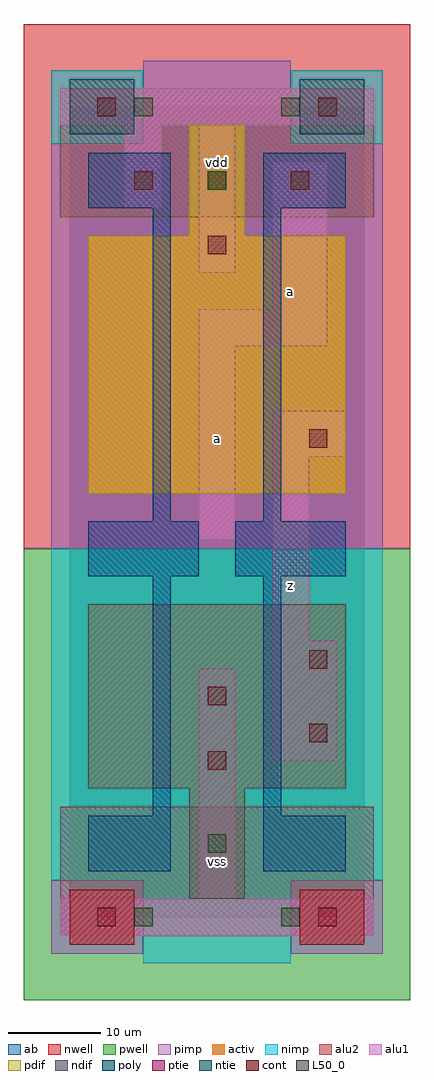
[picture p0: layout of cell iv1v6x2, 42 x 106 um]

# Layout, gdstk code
import gdstk
lib = gdstk.Library(unit=1e-6, precision=1e-09)
def R(c, l, rs):  # rectangles x0, y0, x1, y1
    for r in rs: c.add(gdstk.rectangle(r[:2], r[2:], *l))
ndif = (3, 0)
pdif = (4, 0)
ntie = (5, 0)
ptie = (6, 0)
cont = (25, 0)
pwell = (41, 0)
nwell = (42, 0)
activ = (43, 0)
pimp = (44, 0)
nimp = (45, 0)
poly = (46, 0)
alu1 = (49, 0)
L50_0 = (50, 0)
alu2 = (51, 0)
ab = (63, 0)

iv1v6x2 = lib.new_cell('iv1v6x2')
R(iv1v6x2, ndif, [(13,2,19,14), (2,14,30,34)])
R(iv1v6x2, pdif, [(2,46,30,74), (13,74,19,86)])
R(iv1v6x2, ntie, [(0,85,7,91), (25,85,32,91)])
R(iv1v6x2, ptie, [(0,-3,7,3), (25,-3,32,3)])
R(iv1v6x2, cont, [(3,-1,5,1), (27,-1,29,1), (15,16,17,18), (26,19,28,21), (15,23,17,25), (26,27,28,29), (26,51,28,53), (15,72,17,74), (7,79,9,81), (15,79,17,81), (24,79,26,81), (3,87,5,89), (27,87,29,89)])
R(iv1v6x2, pwell, [(-5,-9,37,40)])
R(iv1v6x2, nwell, [(-5,40,37,97)])
R(iv1v6x2, activ, [(0,-3,7,3), (25,-3,32,3), (13,2,19,14), (2,14,30,34), (2,46,30,74), (13,74,19,86), (0,85,7,91), (25,85,32,91)])
R(iv1v6x2, pimp, [(-2,-4,8,4), (24,-4,34,4), (-2,40,34,84), (8,84,24,93)])
R(iv1v6x2, nimp, [(8,-5,24,4), (-2,4,34,40), (-2,84,8,92), (24,84,34,92)])
R(iv1v6x2, poly, [(2,5,11,11), (21,5,30,11), (9,11,11,37), (21,11,23,37), (2,37,14,43), (18,37,30,43), (9,43,11,77), (21,43,23,77), (2,77,11,83), (21,77,30,83)])
R(iv1v6x2, alu1, [(-1,-2,33,2), (14,2,18,27), (22,17,29,30), (22,30,26,50), (14,41,18,62), (22,50,30,55), (14,62,28,66), (22,66,28,82), (14,70,18,86), (6,77,10,86), (-1,86,33,90)])
R(iv1v6x2, L50_0, [(7,-1,9,1), (23,-1,25,1), (15,7,17,9), (15,79,17,81), (7,87,9,89), (23,87,25,89)])
R(iv1v6x2, alu2, [(-1,-2,33,12), (-1,76,33,90)])
R(iv1v6x2, ab, [(0,0,32,88)])
iv1v6x2.add(gdstk.Label('a', (16,52), layer=49, texttype=0))
iv1v6x2.add(gdstk.Label('z', (24,36), layer=49, texttype=0))
iv1v6x2.add(gdstk.Label('a', (24,68), layer=49, texttype=0))
iv1v6x2.add(gdstk.Label('vss', (16,6), layer=51, texttype=0))
iv1v6x2.add(gdstk.Label('vss', (16,6), layer=51, texttype=0))
iv1v6x2.add(gdstk.Label('vdd', (16,82), layer=51, texttype=0))

lib.write_gds('iv1v6x2.gds')
